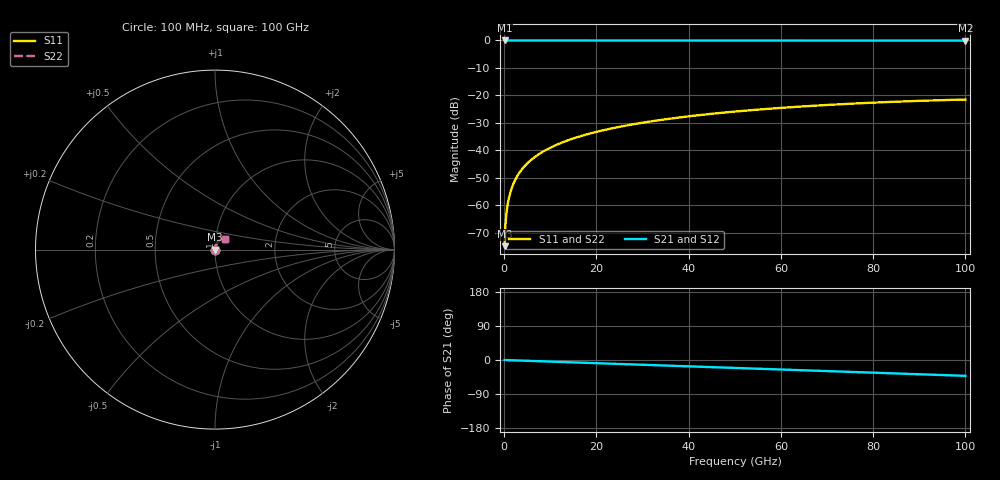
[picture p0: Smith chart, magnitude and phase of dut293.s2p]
! Touchstone file exported from HFSS 2026.1.0
!  File:  C:/ffzhzh/LocalFiles/Ansys_Project_Files/temp_train_TSV_293_1783509053_9504.aedt
!  Generated:  07:12:04 PM Jul  8, 2026
!  Design:  TSV
!  Project:  temp_train_TSV_293_1783509053_9504
! Variables:
!  h_bsmrdl = 2um
!  h_ox = 20um
!  h_rdl = 5um
!  h_sub = 80.19um
!  h_tmrdl = 5um
!  h_tsv = 80.19um
!  h_via = 3um
!  l_bsmrdl = 300um
!  l_sub = 422.9um
!  l_tmrdl = 200um
!  m_sub = 200um
!  pitch = 54.4um
!  r_tsv = 11.45um
!  s_tmrdl = 10um
!  w_bsmrdl = 18um
!  w_sub = 500um
!  w_tmrdl = 12um
!  x_tsv_center1 = 206um
!  x_tsv_center2 = 524um
!  x_tsv_center3 = 736um
!  x_tsv_center4 = 1054um
!  x_tsv_center5 = 1266um
!  x_tsv_center6 = 1584um
# GHz S MA R 50.000000
! Terminal data exported
! Port[1] = TSV1_1_T1
! Port[2] = TSV1_1_T2
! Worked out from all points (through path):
!   1000 points, 100 MHz to 100 GHz, reference 50 ohm
!   highest |S21| = 0.00 dB at 100 MHz (marker M1); lowest = -0.1 dB at 100 GHz (marker M2)
!   group delay of S21, straight-line fit = 1.16 ps
!   lowest |S11| = -74.9 dB at 100 MHz (marker M3), VSWR 1.00, Z = 50 + j0.0149 ohm
!   |S11| at or under -10 dB: start of sweep to end of sweep
!   |S22| runs from -74.9 to -21.5 dB; largest |S21 - S12| = 2.2e-15
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0.1  0.0001807 55.6  0.9999 -0.0  0.9999 -0.0  0.0001807 55.6
! Gamma 0 0 0 0
! Port Impedance 50 0 50 0
0.3  0.0004541 72.9  0.9999 -0.1  0.9999 -0.1  0.0004541 72.9
0.7  0.0009624 77.0  0.9998 -0.3  0.9998 -0.3  0.0009624 77.0
0.8  0.001081 77.5  0.9998 -0.3  0.9998 -0.3  0.001081 77.5
1  0.001315 78.4  0.9997 -0.4  0.9997 -0.4  0.001315 78.4
1.3  0.001661 79.4  0.9997 -0.6  0.9997 -0.6  0.001661 79.4
1.8  0.002233 80.5  0.9997 -0.8  0.9997 -0.8  0.002233 80.5
2.3  0.002799 81.2  0.9996 -1.0  0.9996 -1.0  0.002799 81.2
3  0.003582 81.7  0.9996 -1.3  0.9996 -1.3  0.003582 81.7
3.8  0.004468 82.0  0.9995 -1.6  0.9995 -1.6  0.004468 82.0
4.8  0.005564 82.2  0.9994 -2.0  0.9994 -2.0  0.005564 82.2
6  0.00687 82.3  0.9994 -2.5  0.9994 -2.5  0.00687 82.3
8.8  0.009893 81.9  0.9992 -3.7  0.9992 -3.7  0.009893 81.9
12.4  0.01374 81.0  0.999 -5.2  0.999 -5.2  0.01374 81.0
16.8  0.01837 79.7  0.9988 -7.0  0.9988 -7.0  0.01837 79.6
24.2  0.02603 77.1  0.9984 -10.1  0.9984 -10.1  0.02603 77.1
33.4  0.03526 73.7  0.9979 -14.0  0.9979 -14.0  0.03526 73.7
41.2  0.04276 70.6  0.9974 -17.2  0.9974 -17.2  0.04276 70.6
50.1  0.0509 67.1  0.9969 -20.9  0.9969 -20.9  0.0509 67.1
66.7  0.06458 60.4  0.9958 -27.9  0.9958 -27.9  0.06458 60.4
83.4  0.07594 53.6  0.9947 -34.8  0.9947 -34.8  0.07594 53.6
100  0.08417 46.9  0.9936 -41.8  0.9936 -41.8  0.08418 46.8
